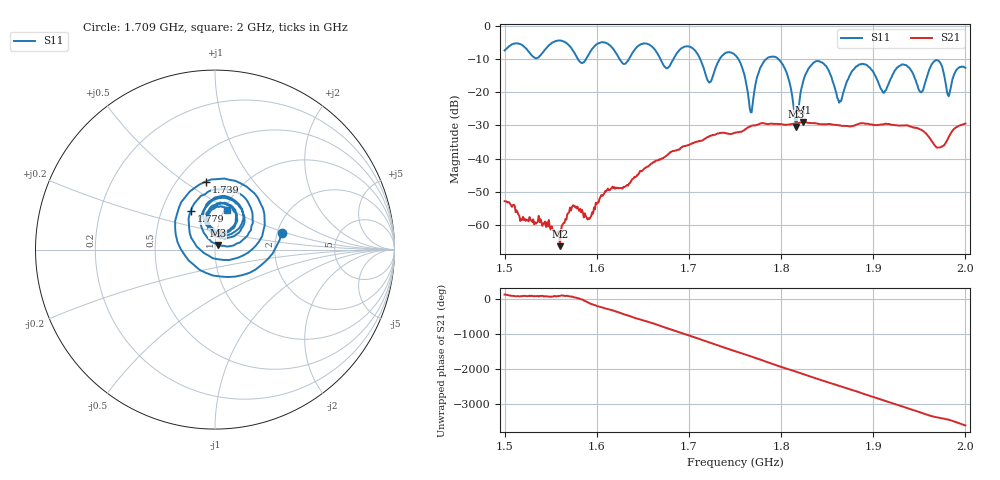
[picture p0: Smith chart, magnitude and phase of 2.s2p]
! NanoVNA-App by SYSJOINT et al v1.1.209 (+OD18)
! Date: 2026-01-21 14:16:02
! Start: 1,5GHz Stop: 2GHz Points: 501
! S-Parameter data: F S11 S21 S12 S22
# Hz S RI R 50
!  Frequency  S11_Real  S11_Imag  S21_Real  S21_Imag  S12_Real  S12_Imag  S22_Real  S22_Imag
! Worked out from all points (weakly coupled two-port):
!   501 points, 1.5 GHz to 2 GHz, reference 50 ohm
!   highest |S21| = -29.02 dB at 1.824 GHz (marker M1); lowest = -66.4 dB at 1.56 GHz (marker M2)
!   lowest |S11| = -30.4 dB at 1.816 GHz (marker M3), VSWR 1.06, Z = 51.5 + j2.66 ohm
!   |S11| at or under -10 dB: 1.712 GHz to 1.734 GHz (21.3 MHz wide, 1.24 % of centre); 1.753 GHz to 1.784 GHz (30.75 MHz wide, 1.74 % of centre); 1.797 GHz to end of sweep (the widest 3 of 6)
!   S12 and S22 are empty: the file has one direction only
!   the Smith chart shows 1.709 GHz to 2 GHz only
!   S11 on the Smith chart (normalised r, x): 1.709 GHz: 2.11, +0.47; 1.739 GHz: 0.68, +0.61; 1.779 GHz: 0.70, +0.32; 2 GHz: 1.03, +0.48
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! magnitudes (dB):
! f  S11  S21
! 1.5 GHz  -7.5  -52.8
! 1.56 GHz  -4.4  -66.4
! 1.584 GHz  -11.3  -55.4
! 1.667 GHz  -8.9  -40.4
! 1.709 GHz  -8.3  -34.9
! 1.722 GHz  -17.1  -33.3
! 1.739 GHz  -8.3  -32.3
! 1.75 GHz  -8.8  -32.2
! 1.767 GHz  -26.0  -30.3
! 1.779 GHz  -12.0  -29.4
! 1.801 GHz  -11.4  -29.7
! 1.816 GHz  -30.4  -29.5
! 1.824 GHz  -16.7  -29.0
! 1.834 GHz  -11.5  -29.3
! 1.863 GHz  -23.2  -30.0
! 1.886 GHz  -11.6  -29.4
! 1.917 GHz  -17.2  -29.6
! 1.934 GHz  -11.8  -30.0
! 1.952 GHz  -20.1  -31.3
! 1.971 GHz  -10.6  -36.7
! 1.982 GHz  -21.2  -33.4
! 2 GHz  -12.7  -29.5
